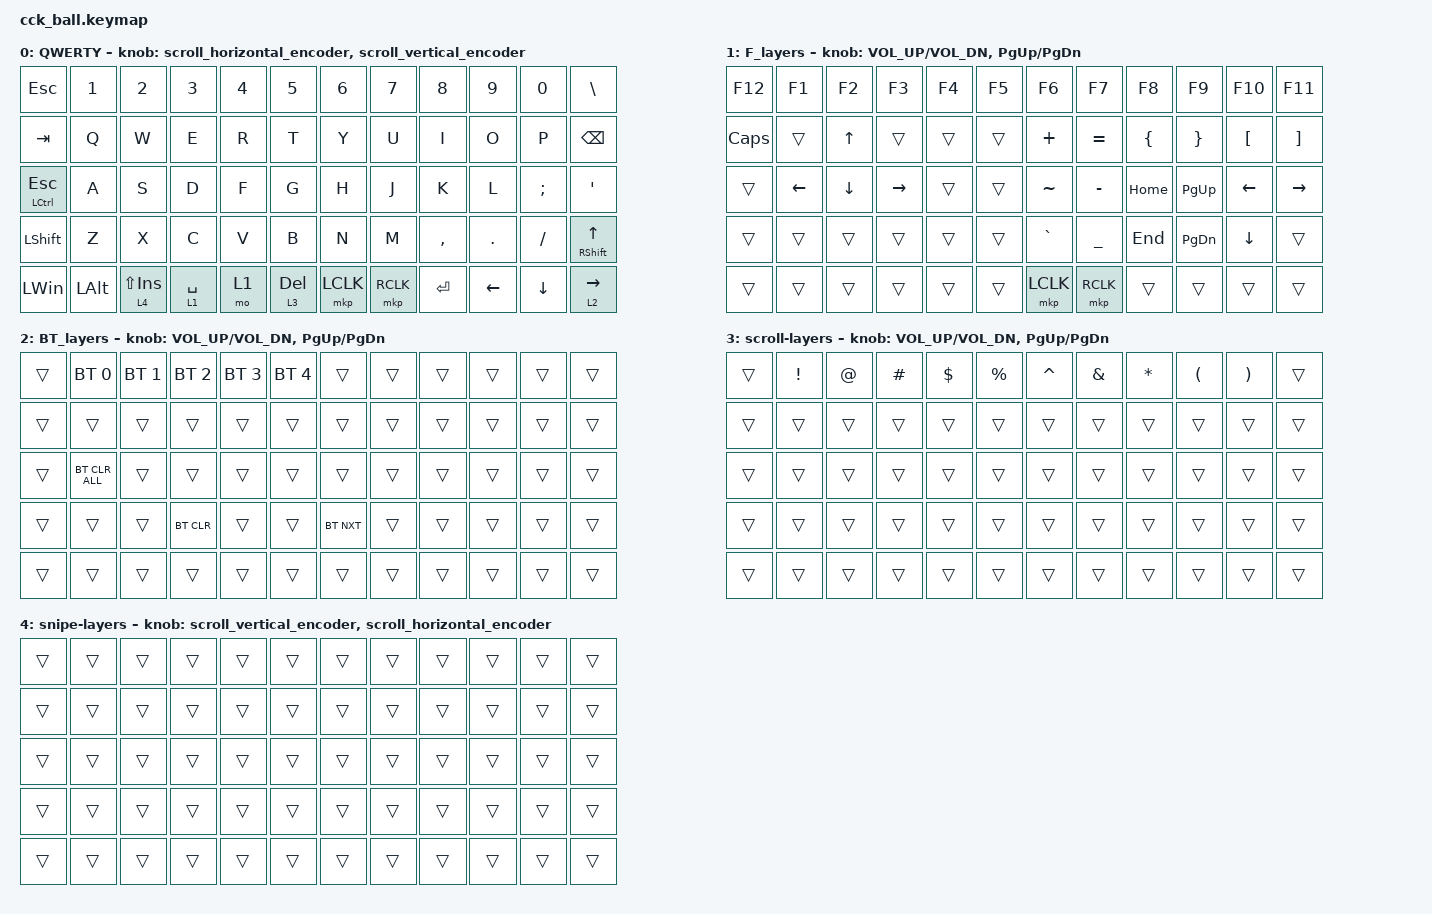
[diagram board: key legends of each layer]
#define ZMK_POINTING_DEFAULT_MOVE_VAL 1000 // 600
#define ZMK_POINTING_DEFAULT_SCRL_VAL 12   // 10

#include <input/processors.dtsi>
#include <zephyr/dt-bindings/input/input-event-codes.h>
#include <behaviors.dtsi>
#include <dt-bindings/zmk/bt.h>
#include <dt-bindings/zmk/keys.h>
#include <dt-bindings/zmk/pointing.h>

&mmv_input_listener { input-processors = <&zip_xy_scaler 2 1>; };

&msc_input_listener { input-processors = <&zip_scroll_scaler 2 1>; };

&msc {
    acceleration-exponent = <0>;      // 0
    time-to-max-speed-ms = <300>;       // 300
    delay-ms = <0>;                   // 0
};

&mmv {
    time-to-max-speed-ms = <500>;
    acceleration-exponent = <1>;
    trigger-period-ms = <16>;
};

&soft_off { hold-time-ms = <2000>; };

/ {
    // 上下滚动编码器行为

    scroll_vertical_encoder: scroll_vertical_encoder {
        compatible = "zmk,behavior-sensor-rotate";
        #sensor-binding-cells = <0>;
        bindings = <&msc SCRL_DOWN>, <&msc SCRL_UP>;

        tap-ms = <100>;
    };

    // 左右滚动编码器行为

    scroll_horizontal_encoder: scroll_horizontal_encoder {
        compatible = "zmk,behavior-sensor-rotate";
        #sensor-binding-cells = <0>;
        bindings = <&msc SCRL_LEFT>, <&msc SCRL_RIGHT>;

        tap-ms = <100>;
    };

    behaviors {
    };

    combos {
        compatible = "zmk,combos";

        tile {
            bindings = <&kp TILDE>;
            key-positions = <0 36>;
            layers = <0>;
        };
    };

    keymap {
        compatible = "zmk,keymap";

        QWERTY {
            bindings = <
&kp ESC               &kp N1        &kp N2            &kp N3       &kp N4  &kp N5        &kp N6     &kp N7     &kp N8     &kp N9          &kp N0          &kp BACKSLASH
&kp TAB               &kp Q         &kp W             &kp E        &kp R   &kp T         &kp Y      &kp U      &kp I      &kp O           &kp P           &kp BACKSPACE
&mt LEFT_CONTROL ESC  &kp A         &kp S             &kp D        &kp F   &kp G         &kp H      &kp J      &kp K      &kp L           &kp SEMI        &kp SQT
&kp LEFT_SHIFT        &kp Z         &kp X             &kp C        &kp V   &kp B         &kp N      &kp M      &kp COMMA  &kp DOT         &kp SLASH       &mt RIGHT_SHIFT UP_ARROW
&kp LEFT_WIN          &kp LEFT_ALT  &lt 4 LS(INSERT)  &lt 1 SPACE  &mo 1   &lt 3 DELETE  &mkp LCLK  &mkp RCLK  &kp ENTER  &kp LEFT_ARROW  &kp DOWN_ARROW  &lt 2 RIGHT_ARROW
            >;

            sensor-bindings =
                <&scroll_horizontal_encoder>,
                <&scroll_vertical_encoder>;
        };

        F_layers {
            bindings = <
&kp F12       &kp F1          &kp F2          &kp F3           &kp F4  &kp F5  &kp F6     &kp F7          &kp F8          &kp F9           &kp F10           &kp F11
&kp CAPSLOCK  &trans          &kp UP_ARROW    &trans           &trans  &trans  &kp PLUS   &kp EQUAL       &kp LEFT_BRACE  &kp RIGHT_BRACE  &kp LEFT_BRACKET  &kp RIGHT_BRACKET
&trans        &kp LEFT_ARROW  &kp DOWN_ARROW  &kp RIGHT_ARROW  &trans  &trans  &kp TILDE  &kp MINUS       &kp HOME        &kp PAGE_UP      &kp LEFT_ARROW    &kp RIGHT_ARROW
&trans        &trans          &trans          &trans           &trans  &trans  &kp GRAVE  &kp UNDERSCORE  &kp END         &kp PAGE_DOWN    &kp DOWN_ARROW    &trans
&trans        &trans          &trans          &trans           &trans  &trans  &mkp LCLK  &mkp RCLK       &trans          &trans           &trans            &trans
            >;

            sensor-bindings = <&inc_dec_kp C_VOL_UP C_VOL_DN &inc_dec_kp PG_UP PG_DN>;
        };

        BT_layers {
            bindings = <
&trans  &bt BT_SEL 0    &bt BT_SEL 1  &bt BT_SEL 2  &bt BT_SEL 3  &bt BT_SEL 4  &trans      &trans  &trans  &trans  &trans  &trans
&trans  &trans          &trans        &trans        &trans        &trans        &trans      &trans  &trans  &trans  &trans  &trans
&trans  &bt BT_CLR_ALL  &trans        &trans        &trans        &trans        &trans      &trans  &trans  &trans  &trans  &trans
&trans  &trans          &trans        &bt BT_CLR    &trans        &trans        &bt BT_NXT  &trans  &trans  &trans  &trans  &trans
&trans  &trans          &trans        &trans        &trans        &trans        &trans      &trans  &trans  &trans  &trans  &trans
            >;

            sensor-bindings = <&inc_dec_kp C_VOL_UP C_VOL_DN &inc_dec_kp PG_UP PG_DN>;
        };

        scroll-layers {
            bindings = <
&trans  &kp EXCLAMATION  &kp AT_SIGN  &kp HASH  &kp DOLLAR  &kp PERCENT  &kp CARET  &kp AMPERSAND  &kp ASTERISK  &kp LEFT_PARENTHESIS  &kp RIGHT_PARENTHESIS  &trans
&trans  &trans           &trans       &trans    &trans      &trans       &trans     &trans         &trans        &trans                &trans                 &trans
&trans  &trans           &trans       &trans    &trans      &trans       &trans     &trans         &trans        &trans                &trans                 &trans
&trans  &trans           &trans       &trans    &trans      &trans       &trans     &trans         &trans        &trans                &trans                 &trans
&trans  &trans           &trans       &trans    &trans      &trans       &trans     &trans         &trans        &trans                &trans                 &trans
            >;

            sensor-bindings = <&inc_dec_kp C_VOL_UP C_VOL_DN &inc_dec_kp PG_UP PG_DN>;
        };

        snipe-layers {
            bindings = <
&trans  &trans  &trans  &trans  &trans  &trans  &trans  &trans  &trans  &trans  &trans  &trans
&trans  &trans  &trans  &trans  &trans  &trans  &trans  &trans  &trans  &trans  &trans  &trans
&trans  &trans  &trans  &trans  &trans  &trans  &trans  &trans  &trans  &trans  &trans  &trans
&trans  &trans  &trans  &trans  &trans  &trans  &trans  &trans  &trans  &trans  &trans  &trans
&trans  &trans  &trans  &trans  &trans  &trans  &trans  &trans  &trans  &trans  &trans  &trans
            >;

            sensor-bindings =
                <&scroll_vertical_encoder>,
                // 编码器1：上下滚动,,,,,,,,,,,,,,,,
                <&scroll_horizontal_encoder>;

            // 编码器2：左右滚动
        };
    };
};
